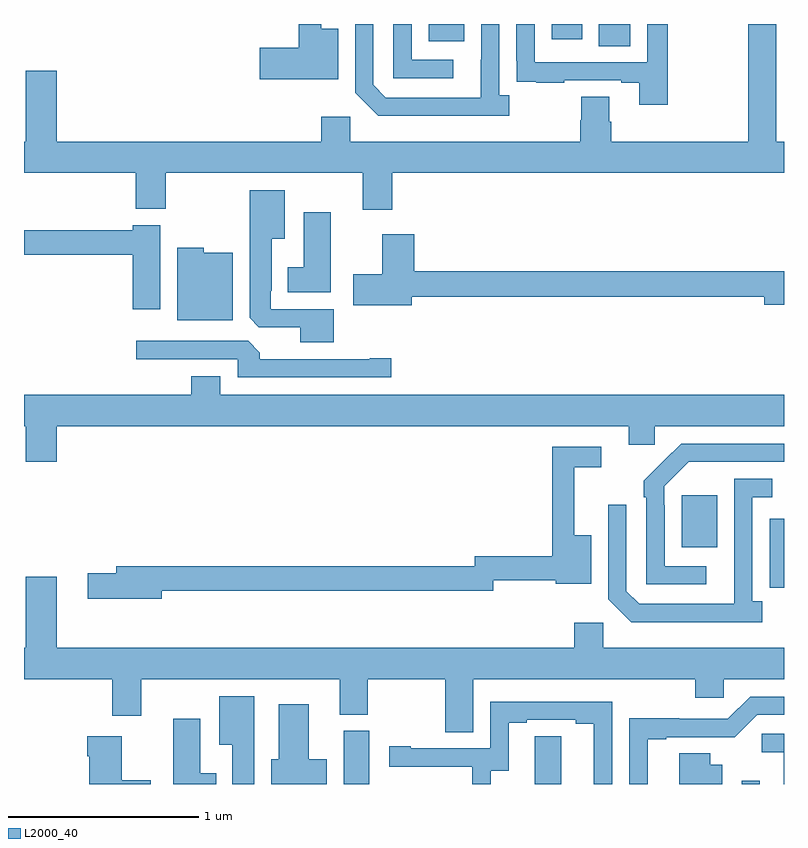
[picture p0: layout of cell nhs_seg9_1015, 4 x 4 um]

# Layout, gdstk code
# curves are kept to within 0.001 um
import gdstk
lib = gdstk.Library(unit=1e-6, precision=1e-09)
def R(c, l, rs):  # rectangles x0, y0, x1, y1
    for r in rs: c.add(gdstk.rectangle(r[:2], r[2:], *l))
def P(c, l, *ps):  # polygons
    for p in ps: c.add(gdstk.Polygon(p, *l))
L2000_40 = (2000, 40)

nhs_seg9_1015 = lib.new_cell('nhs_seg9_1015')
R(nhs_seg9_1015, L2000_40, [(166.682,1230.5,166.816,1230.78), (168.777,1230.5,168.873,1230.517), (168.461,1231.745,168.649,1232.02), (168.026,1234.384,168.19,1234.5), (167.129,1234.409,167.317,1234.5), (167.777,1234.419,167.938,1234.5)])
P(nhs_seg9_1015, L2000_40, [(167.26,1234.311),(167.04,1234.311),(167.04,1234.5),(166.944,1234.5),(166.944,1234.215),(167.26,1234.215)],
  [(166.654,1234.474),(166.565,1234.474),(166.565,1234.5),(166.447,1234.5),(166.447,1234.375),(166.242,1234.375),(166.242,1234.21),(166.654,1234.21)],
  [(167.554,1234.126),(167.502,1234.126),(167.502,1234.5),(167.406,1234.5),(167.405,1234.113),(166.905,1234.113),(166.839,1234.179),(166.839,1234.5),(166.743,1234.5),(166.743,1234.137),(166.864,1234.016),(167.554,1234.016)],
  [(166.937,1233.716),(169,1233.716),(169,1233.88),(168.958,1233.88),(168.958,1234.5),(168.811,1234.5),(168.811,1233.88),(168.092,1233.88),(168.092,1233.986),(168.079,1233.986),(168.079,1234.118),(167.932,1234.118),(167.932,1233.993),(167.927,1233.993),(167.927,1233.88),(166.716,1233.88),(166.716,1234.012),(166.565,1234.012),(166.565,1233.88),(165.172,1233.88),(165.172,1234.255),(165.008,1234.255),(165.008,1233.88),(165,1233.88),(165,1233.716),(165.587,1233.716),(165.587,1233.527),(165.747,1233.527),(165.747,1233.716),(166.784,1233.716),(166.784,1233.522),(166.937,1233.522)],
  [(168.388,1234.5),(168.279,1234.5),(168.279,1234.299),(167.688,1234.299),(167.688,1234.5),(167.592,1234.5),(167.592,1234.306),(167.593,1234.306),(167.593,1234.197),(167.695,1234.197),(167.695,1234.191),(167.843,1234.191),(167.843,1234.203),(168.143,1234.203),(168.143,1234.191),(168.239,1234.191),(168.239,1234.074),(168.388,1234.074)],
  [(166.63,1233),(166.299,1233),(166.299,1233.097),(166.303,1233.097),(166.303,1233.371),(166.372,1233.371),(166.372,1233.625),(166.187,1233.625),(166.187,1232.953),(166.236,1232.904),(166.454,1232.904),(166.454,1232.825),(166.63,1232.825)],
  [(166.615,1233.508),(166.472,1233.508),(166.472,1233.22),(166.388,1233.22),(166.388,1233.089),(166.615,1233.089)],
  [(165.718,1233.442),(165.572,1233.442),(165.572,1233.415),(165,1233.415),(165,1233.286),(165.572,1233.286),(165.572,1233),(165.718,1233)],
  [(167.041,1233.064),(168.896,1233.064),(168.896,1233.022),(169,1233.022),(169,1233.2),(167.054,1233.2),(167.054,1233.394),(166.886,1233.394),(166.886,1233.183),(166.734,1233.183),(166.734,1233.02),(167.041,1233.02)],
  [(166.099,1233.295),(165.945,1233.295),(165.945,1233.322),(165.806,1233.322),(165.806,1232.942),(166.099,1232.942)],
  [(166.933,1232.741),(166.82,1232.741),(166.82,1232.736),(166.241,1232.736),(166.241,1232.77),(166.179,1232.832),(165.591,1232.832),(165.591,1232.736),(166.125,1232.736),(166.125,1232.64),(166.933,1232.64)],
  [(165.172,1232.384),(168.182,1232.384),(168.182,1232.286),(168.321,1232.286),(168.321,1232.384),(169,1232.384),(169,1232.548),(166.033,1232.548),(166.033,1232.647),(165.881,1232.647),(165.881,1232.548),(165,1232.548),(165,1232.384),(165.008,1232.384),(165.008,1232.196),(165.172,1232.196)],
  [(168.592,1231.647),(168.372,1231.647),(168.372,1231.967),(168.369,1231.967),(168.369,1232.067),(168.498,1232.196),(169,1232.196),(169,1232.292),(168.458,1232.292),(168.261,1232.097),(168.261,1232.009),(168.276,1232.009),(168.276,1231.551),(168.592,1231.551)],
  [(165.724,1231.518),(167.469,1231.518),(167.469,1231.572),(167.798,1231.572),(167.798,1231.553),(167.986,1231.553),(167.986,1231.81),(167.897,1231.81),(167.897,1232.166),(168.037,1232.166),(168.037,1232.274),(167.779,1232.274),(167.779,1231.7),(167.373,1231.7),(167.373,1231.646),(165.485,1231.646),(165.485,1231.61),(165.336,1231.61),(165.336,1231.475),(165.724,1231.475)],
  [(168.886,1231.462),(168.834,1231.462),(168.834,1232.01),(168.937,1232.01),(168.937,1232.106),(168.738,1232.106),(168.737,1231.449),(168.237,1231.449),(168.171,1231.515),(168.171,1231.969),(168.075,1231.969),(168.075,1231.473),(168.196,1231.352),(168.886,1231.352)],
  [(169,1231.897),(168.924,1231.897),(168.924,1231.642),(168.925,1231.642),(168.925,1231.533),(169,1231.533)],
  [(167.365,1231.052),(168.533,1231.052),(168.533,1230.954),(168.684,1230.954),(168.684,1231.052),(169,1231.052),(169,1231.216),(168.048,1231.216),(168.048,1231.348),(167.897,1231.348),(167.897,1231.216),(165.172,1231.216),(165.172,1231.591),(165.008,1231.591),(165.008,1231.216),(165,1231.216),(165,1231.052),(165.464,1231.052),(165.464,1230.858),(165.616,1230.858),(165.616,1231.052),(166.661,1231.052),(166.661,1230.865),(166.809,1230.865),(166.809,1231.052),(167.218,1231.052),(167.218,1230.772),(167.365,1230.772)],
  [(166.213,1230.961),(166.028,1230.961),(166.028,1230.707),(166.097,1230.707),(166.097,1230.5),(166.213,1230.5)],
  [(168.283,1230.735),(168.379,1230.735),(168.379,1230.747),(168.74,1230.746),(168.858,1230.864),(169,1230.864),(169,1230.96),(168.822,1230.96),(168.705,1230.843),(168.449,1230.843),(168.449,1230.845),(168.186,1230.845),(168.186,1230.5),(168.283,1230.5)],
  [(167.457,1230.571),(167.551,1230.571),(167.551,1230.822),(167.647,1230.822),(167.647,1230.837),(167.903,1230.837),(167.903,1230.817),(167.999,1230.817),(167.999,1230.5),(168.096,1230.5),(168.096,1230.933),(167.454,1230.933),(167.454,1230.687),(167.035,1230.687),(167.035,1230.7),(166.923,1230.7),(166.923,1230.591),(167.357,1230.591),(167.357,1230.59),(167.358,1230.59),(167.358,1230.5),(167.457,1230.5)],
  [(166.594,1230.631),(166.498,1230.631),(166.498,1230.919),(166.34,1230.919),(166.34,1230.631),(166.301,1230.631),(166.301,1230.5),(166.594,1230.5)],
  [(166.012,1230.556),(165.928,1230.556),(165.928,1230.844),(165.785,1230.844),(165.785,1230.5),(166.012,1230.5)],
  [(169,1230.765),(168.882,1230.765),(168.882,1230.668),(168.998,1230.668),(168.998,1230.5),(169,1230.5)],
  [(167.827,1230.752),(167.688,1230.752),(167.688,1230.644),(167.687,1230.644),(167.687,1230.5),(167.827,1230.5)],
  [(165.667,1230.519),(165.514,1230.519),(165.514,1230.751),(165.332,1230.751),(165.332,1230.647),(165.344,1230.647),(165.344,1230.5),(165.667,1230.5)],
  [(168.676,1230.601),(168.613,1230.601),(168.613,1230.662),(168.449,1230.662),(168.449,1230.5),(168.676,1230.5)])

lib.write_gds('nhs_seg9_1015.gds')
